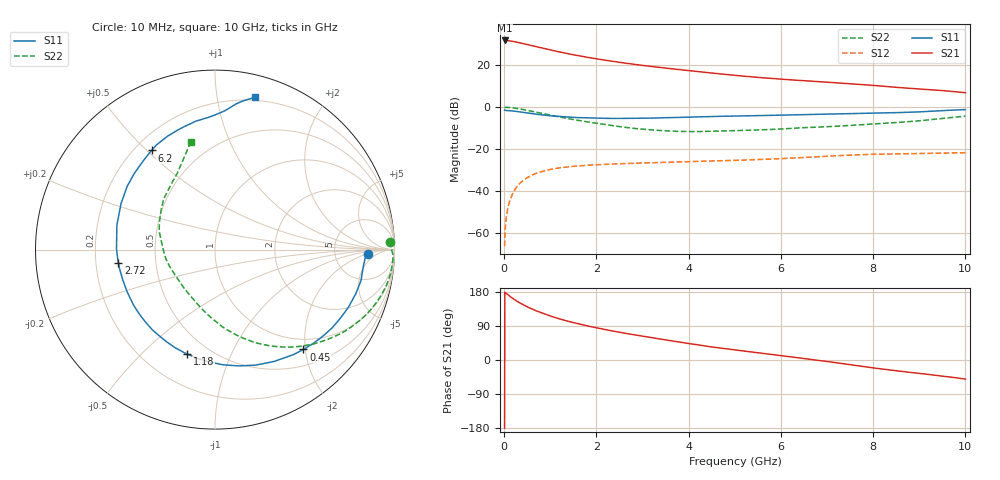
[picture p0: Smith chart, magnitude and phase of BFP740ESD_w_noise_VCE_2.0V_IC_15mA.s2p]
! Infineon Technologies  Discrete & RF Semiconductors
! BFP740ESD
! VCE =  2.0 V,  IC =  15 mA
! Common Emitter S-Parameters:  Jan 2016
# GHz  S  MA  R  50
!  f  S11  S21  S12  S22
! GHz  MAG  ANG  MAG  ANG  MAG  ANG  MAG  ANG
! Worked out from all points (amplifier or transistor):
!   233 points, 10 MHz to 10 GHz, reference 50 ohm
!   highest |S21| = 31.7 dB at 10 MHz (marker M1)
!   |S21| within 3 dB of that: start of sweep to 698.1 MHz
!   unconditionally stable (mu >= 1): 4.78 GHz to 8.965 GHz
!   at 200 MHz: K = 0.11, MSG = 35.8 dB, |S12| = -40.4 dB
!   at 1.74 GHz: K = 0.50, MSG = 25.8 dB, |S12| = -27.7 dB
!   at 10 GHz: K = 0.75, MSG = 14.2 dB, |S12| = -21.6 dB
!   lowest NFmin = 0.69 dB at 450 MHz
!   S11 on the Smith chart (normalised r, x): 10 MHz: 12, -2; 450 MHz: 0.79, -1.96; 1.18 GHz: 0.38, -0.70; 2.72 GHz: 0.30, -0.06; 6.2 GHz: 0.27, +0.52; 10 GHz: 0.17, +1.28
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0.01  0.8529 -1.7  38.49 -179.9  0.0005 119.3  0.9734 2.6
0.02  0.8396 -2.6  38.03 178.1  0.0012 97.7  0.9903 -1.3
0.05  0.8318 -6.1  38.01 175.0  0.0026 83.5  0.9929 -3.6
0.1  0.8317 -12.0  37.88 170.5  0.005 84.3  0.9881 -7.6
0.22  0.804 -25.3  36.04 159.8  0.0104 76.3  0.9545 -16.5
0.32  0.7783 -35.8  34.17 152.1  0.0147 70.8  0.9169 -23.2
0.45  0.7431 -48.5  31.62 143.4  0.0195 64.6  0.8639 -30.9
0.6  0.7049 -62.1  28.87 134.5  0.0243 58.2  0.8002 -38.9
0.8  0.6616 -78.4  25.63 124.7  0.0293 51.2  0.7215 -48.3
1  0.6265 -93.2  22.89 116.1  0.0333 45.3  0.6492 -56.6
1.18  0.6021 -104.9  20.75 109.3  0.0359 40.9  0.5925 -63.2
1.4  0.5799 -117.9  18.48 101.7  0.0384 36.5  0.5324 -70.5
1.68  0.5614 -132.0  16.2 93.5  0.0409 32.2  0.4712 -78.5
2.18  0.5433 -153.2  13.12 80.5  0.044 26.7  0.388 -91.7
2.72  0.5431 -172.3  10.77 68.5  0.0461 22.8  0.3226 -106.7
3.4  0.558 168.6  8.73 55.0  0.0486 19.7  0.279 -125.7
4.5  0.6034 144.1  6.479 34.3  0.0528 15.8  0.269 -158.5
5.1  0.6199 135.6  5.577 25.0  0.055 14.6  0.2796 -171.4
6.2  0.6555 122.6  4.477 8.6  0.0615 12.5  0.3121 166.9
6.8  0.6773 115.3  4.05 -0.8  0.0666 10.1  0.3366 157.2
8.4  0.7374 92.9  3.027 -26.8  0.0774 -1.6  0.4249 127.5
10  0.8776 75.3  2.208 -50.4  0.083 -12.3  0.615 102.7
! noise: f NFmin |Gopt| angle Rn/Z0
0.45  0.69  0.08  1  0.11
0.9  0.73  0.08  8  0.09
1.9  0.75  0.05  2  0.09
2.4  0.79  0.03  -61  0.11
5.5  0.95  0.27  -127  0.12
10  1.6  0.56  -87  0.52
